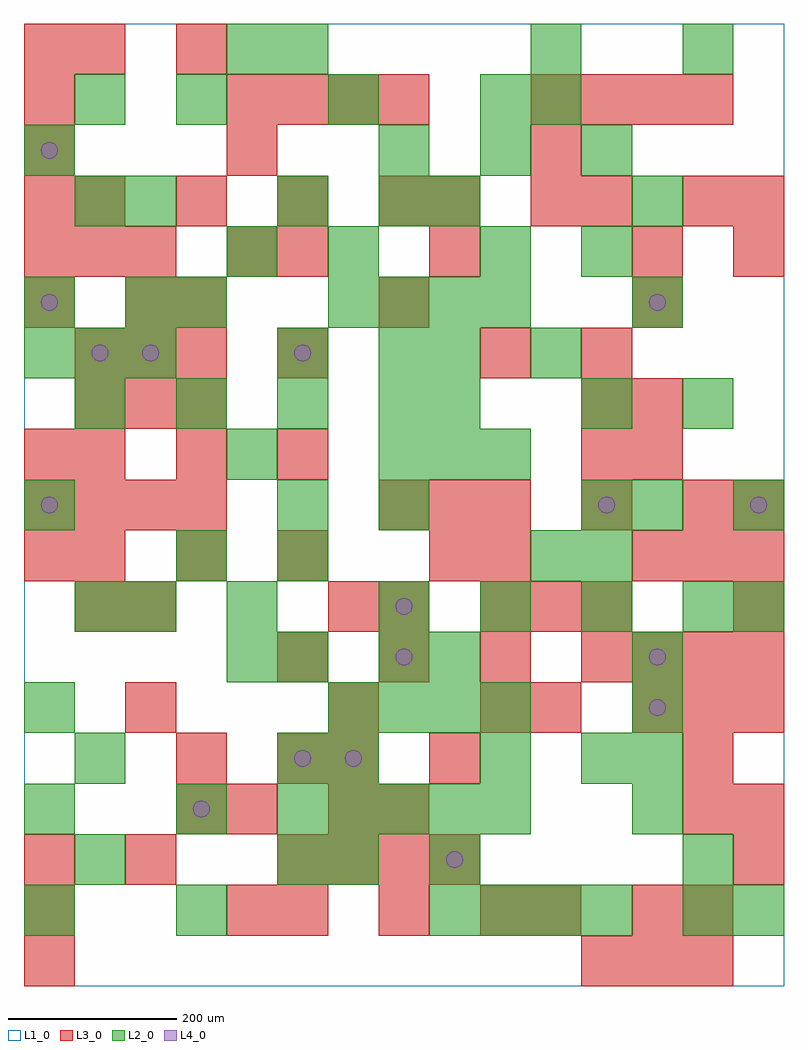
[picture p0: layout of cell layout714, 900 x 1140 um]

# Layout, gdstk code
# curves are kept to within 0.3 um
import gdstk
lib = gdstk.Library(unit=1e-6, precision=1e-09)
def R(c, l, rs):  # rectangles x0, y0, x1, y1
    for r in rs: c.add(gdstk.rectangle(r[:2], r[2:], *l))
def A(c, l, x, y, w, h, nx, ny, dx, dy):  # array of equal rectangles
    R(c, l, [(x+i*dx, y+j*dy, x+i*dx+w, y+j*dy+h) for i in range(nx) for j in range(ny)])
def P(c, l, *ps):  # polygons
    for p in ps: c.add(gdstk.Polygon(p, *l))
L1_0 = (1, 0)
L2_0 = (2, 0)
L3_0 = (3, 0)
L4_0 = (4, 0)

layout714 = lib.new_cell('layout714')
R(layout714, L1_0, [(0,0,900,1140)])
A(layout714, L2_0, 0, 60, 60, 60, 1, 3, 0, 120)
A(layout714, L2_0, 480, 60, 60, 60, 4, 1, 60, 0)
A(layout714, L2_0, 300, 120, 60, 60, 1, 4, 0, 120)
A(layout714, L2_0, 180, 180, 60, 60, 1, 3, 0, 300)
A(layout714, L2_0, 300, 180, 60, 60, 5, 1, 60, 0)
A(layout714, L2_0, 720, 180, 60, 60, 1, 4, 0, 60)
A(layout714, L2_0, 360, 300, 60, 60, 4, 2, 60, 480)
A(layout714, L2_0, 420, 360, 60, 60, 1, 4, 0, 180)
A(layout714, L2_0, 420, 420, 60, 60, 4, 1, 120, 0)
A(layout714, L2_0, 300, 540, 60, 60, 1, 4, 0, 180)
A(layout714, L2_0, 240, 600, 60, 60, 1, 3, 0, 240)
A(layout714, L2_0, 420, 600, 60, 60, 3, 1, 60, 0)
A(layout714, L2_0, 60, 660, 60, 60, 4, 1, 120, 0)
A(layout714, L2_0, 0, 720, 60, 60, 3, 1, 60, 0)
A(layout714, L2_0, 420, 960, 60, 60, 3, 1, 120, 0)
A(layout714, L2_0, 180, 1020, 60, 60, 3, 1, 180, 0)
R(layout714, L2_0, [(180,60,240,120), (780,60,840,120), (840,60,900,120), (60,120,120,180), (360,120,420,180), (480,120,540,180), (780,120,840,180), (60,240,120,300), (360,240,420,300), (540,240,600,300), (660,240,720,300), (240,360,300,420), (480,360,540,420), (60,420,120,480), (120,420,180,480), (240,420,300,480), (840,420,900,480), (600,480,660,540), (660,480,720,540), (0,540,60,600), (660,540,720,600), (720,540,780,600), (840,540,900,600), (480,660,540,720), (660,660,720,720), (780,660,840,720), (480,720,540,780), (600,720,660,780), (0,780,60,840), (120,780,180,840), (720,780,780,840), (360,840,420,900), (540,840,600,900), (660,840,720,900), (60,900,120,960), (120,900,180,960), (480,900,540,960), (720,900,780,960), (0,960,60,1020), (60,1020,120,1080), (600,1020,660,1080), (600,1080,660,1140), (780,1080,840,1140)])
A(layout714, L3_0, 0, 0, 60, 60, 1, 3, 0, 60)
A(layout714, L3_0, 660, 0, 60, 60, 3, 1, 60, 0)
A(layout714, L3_0, 300, 60, 60, 60, 3, 1, 120, 0)
A(layout714, L3_0, 300, 120, 60, 60, 4, 1, 60, 0)
A(layout714, L3_0, 360, 180, 60, 60, 1, 3, 0, 60)
A(layout714, L3_0, 720, 300, 60, 60, 3, 2, 60, 60)
A(layout714, L3_0, 300, 360, 60, 60, 4, 1, 120, 0)
A(layout714, L3_0, 540, 420, 60, 60, 3, 1, 60, 0)
A(layout714, L3_0, 60, 480, 60, 60, 3, 2, 120, 120)
A(layout714, L3_0, 720, 480, 60, 60, 3, 1, 60, 0)
A(layout714, L3_0, 0, 540, 60, 60, 4, 1, 60, 0)
A(layout714, L3_0, 420, 540, 60, 60, 3, 1, 60, 0)
A(layout714, L3_0, 660, 540, 60, 60, 1, 4, 0, 60)
A(layout714, L3_0, 60, 660, 60, 60, 3, 2, 60, 60)
A(layout714, L3_0, 0, 840, 60, 60, 3, 1, 60, 0)
A(layout714, L3_0, 0, 900, 60, 60, 1, 4, 0, 60)
A(layout714, L3_0, 60, 900, 60, 60, 4, 1, 120, 0)
A(layout714, L3_0, 240, 1020, 60, 60, 4, 1, 60, 0)
A(layout714, L3_0, 600, 1020, 60, 60, 4, 1, 60, 0)
R(layout714, L3_0, [(240,60,300,120), (600,60,660,120), (720,60,780,120), (780,60,840,120), (120,120,180,180), (840,120,900,180), (180,180,240,240), (240,180,300,240), (420,180,480,240), (780,180,840,240), (840,180,900,240), (180,240,240,300), (300,240,360,300), (480,240,540,300), (780,240,840,300), (120,300,180,360), (540,300,600,360), (600,300,660,360), (60,420,120,480), (120,420,180,480), (360,420,420,480), (420,420,480,480), (840,420,900,480), (0,480,60,540), (480,480,540,540), (540,480,600,540), (780,540,840,600), (840,540,900,600), (0,600,60,660), (720,600,780,660), (720,660,780,720), (300,720,360,780), (540,720,600,780), (0,780,60,840), (120,780,180,840), (180,780,240,840), (420,780,480,840), (720,780,780,840), (240,840,300,900), (300,840,360,900), (480,840,540,900), (720,840,780,900), (840,840,900,900), (480,900,540,960), (600,900,660,960), (660,900,720,960), (780,900,840,960), (840,900,900,960), (240,960,300,1020), (600,960,660,1020), (60,1080,120,1140), (180,1080,240,1140)])
P(layout714, L4_0, [(40,570),(39.239,573.827),(37.071,577.071),(33.827,579.239),(30,580),(26.173,579.239),(22.929,577.071),(20.761,573.827),(20,570),(20.761,566.173),(22.929,562.929),(26.173,560.761),(30,560),(33.827,560.761),(37.071,562.929),(39.239,566.173)],
  [(40,810),(39.239,813.827),(37.071,817.071),(33.827,819.239),(30,820),(26.173,819.239),(22.929,817.071),(20.761,813.827),(20,810),(20.761,806.173),(22.929,802.929),(26.173,800.761),(30,800),(33.827,800.761),(37.071,802.929),(39.239,806.173)],
  [(40,990),(39.239,993.827),(37.071,997.071),(33.827,999.239),(30,1000),(26.173,999.239),(22.929,997.071),(20.761,993.827),(20,990),(20.761,986.173),(22.929,982.929),(26.173,980.761),(30,980),(33.827,980.761),(37.071,982.929),(39.239,986.173)],
  [(100,750),(99.239,753.827),(97.071,757.071),(93.827,759.239),(90,760),(86.173,759.239),(82.929,757.071),(80.761,753.827),(80,750),(80.761,746.173),(82.929,742.929),(86.173,740.761),(90,740),(93.827,740.761),(97.071,742.929),(99.239,746.173)],
  [(160,750),(159.239,753.827),(157.071,757.071),(153.827,759.239),(150,760),(146.173,759.239),(142.929,757.071),(140.761,753.827),(140,750),(140.761,746.173),(142.929,742.929),(146.173,740.761),(150,740),(153.827,740.761),(157.071,742.929),(159.239,746.173)],
  [(220,210),(219.239,213.827),(217.071,217.071),(213.827,219.239),(210,220),(206.173,219.239),(202.929,217.071),(200.761,213.827),(200,210),(200.761,206.173),(202.929,202.929),(206.173,200.761),(210,200),(213.827,200.761),(217.071,202.929),(219.239,206.173)],
  [(340,270),(339.239,273.827),(337.071,277.071),(333.827,279.239),(330,280),(326.173,279.239),(322.929,277.071),(320.761,273.827),(320,270),(320.761,266.173),(322.929,262.929),(326.173,260.761),(330,260),(333.827,260.761),(337.071,262.929),(339.239,266.173)],
  [(340,750),(339.239,753.827),(337.071,757.071),(333.827,759.239),(330,760),(326.173,759.239),(322.929,757.071),(320.761,753.827),(320,750),(320.761,746.173),(322.929,742.929),(326.173,740.761),(330,740),(333.827,740.761),(337.071,742.929),(339.239,746.173)],
  [(400,270),(399.239,273.827),(397.071,277.071),(393.827,279.239),(390,280),(386.173,279.239),(382.929,277.071),(380.761,273.827),(380,270),(380.761,266.173),(382.929,262.929),(386.173,260.761),(390,260),(393.827,260.761),(397.071,262.929),(399.239,266.173)],
  [(460,390),(459.239,393.827),(457.071,397.071),(453.827,399.239),(450,400),(446.173,399.239),(442.929,397.071),(440.761,393.827),(440,390),(440.761,386.173),(442.929,382.929),(446.173,380.761),(450,380),(453.827,380.761),(457.071,382.929),(459.239,386.173)],
  [(460,450),(459.239,453.827),(457.071,457.071),(453.827,459.239),(450,460),(446.173,459.239),(442.929,457.071),(440.761,453.827),(440,450),(440.761,446.173),(442.929,442.929),(446.173,440.761),(450,440),(453.827,440.761),(457.071,442.929),(459.239,446.173)],
  [(520,150),(519.239,153.827),(517.071,157.071),(513.827,159.239),(510,160),(506.173,159.239),(502.929,157.071),(500.761,153.827),(500,150),(500.761,146.173),(502.929,142.929),(506.173,140.761),(510,140),(513.827,140.761),(517.071,142.929),(519.239,146.173)],
  [(700,570),(699.239,573.827),(697.071,577.071),(693.827,579.239),(690,580),(686.173,579.239),(682.929,577.071),(680.761,573.827),(680,570),(680.761,566.173),(682.929,562.929),(686.173,560.761),(690,560),(693.827,560.761),(697.071,562.929),(699.239,566.173)],
  [(760,330),(759.239,333.827),(757.071,337.071),(753.827,339.239),(750,340),(746.173,339.239),(742.929,337.071),(740.761,333.827),(740,330),(740.761,326.173),(742.929,322.929),(746.173,320.761),(750,320),(753.827,320.761),(757.071,322.929),(759.239,326.173)],
  [(760,390),(759.239,393.827),(757.071,397.071),(753.827,399.239),(750,400),(746.173,399.239),(742.929,397.071),(740.761,393.827),(740,390),(740.761,386.173),(742.929,382.929),(746.173,380.761),(750,380),(753.827,380.761),(757.071,382.929),(759.239,386.173)],
  [(760,810),(759.239,813.827),(757.071,817.071),(753.827,819.239),(750,820),(746.173,819.239),(742.929,817.071),(740.761,813.827),(740,810),(740.761,806.173),(742.929,802.929),(746.173,800.761),(750,800),(753.827,800.761),(757.071,802.929),(759.239,806.173)],
  [(880,570),(879.239,573.827),(877.071,577.071),(873.827,579.239),(870,580),(866.173,579.239),(862.929,577.071),(860.761,573.827),(860,570),(860.761,566.173),(862.929,562.929),(866.173,560.761),(870,560),(873.827,560.761),(877.071,562.929),(879.239,566.173)])

lib.write_gds('layout714.gds')
